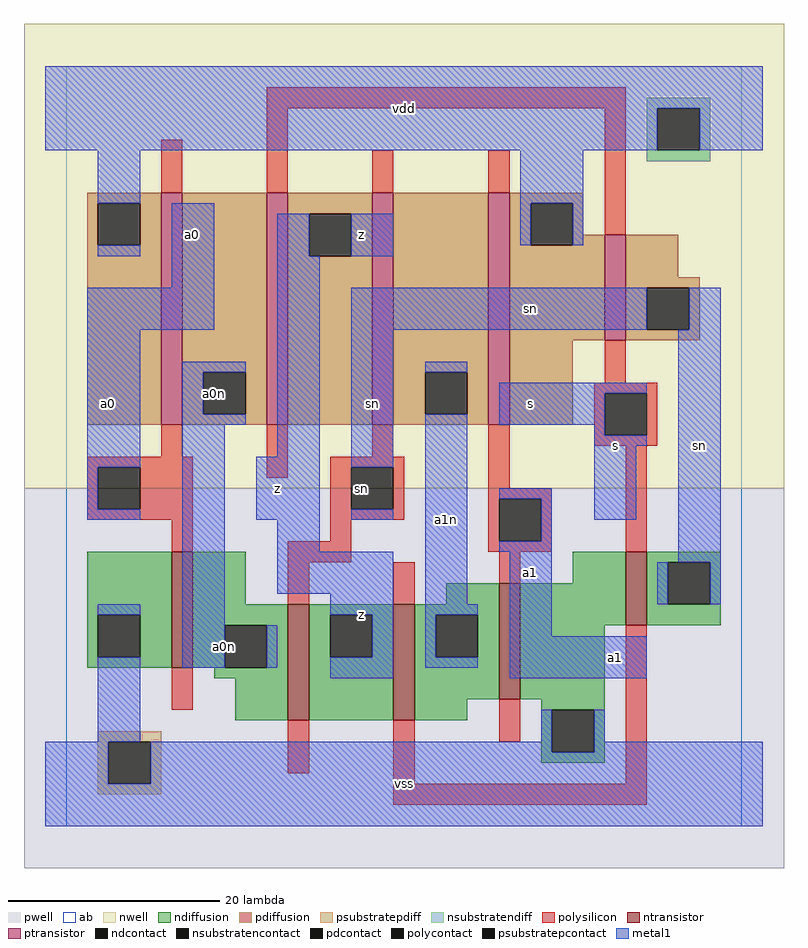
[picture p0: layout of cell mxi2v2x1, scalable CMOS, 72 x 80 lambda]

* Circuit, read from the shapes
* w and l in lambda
.subckt mxi2v2x1 a0 a0n a1 a1n s sn vdd vss z
M1 a0n a0 vss vss nfet w=11 l=2
M2 z sn a0n vss nfet w=11 l=2
M3 a1n s z vss nfet w=11 l=2
M4 vss a1 a1n vss nfet w=11 l=2
M5 sn s vss vss nfet w=7 l=2
M6 a0n a0 vdd vdd pfet w=22 l=2
M7 z s a0n vdd pfet w=22 l=2
M8 a1n sn z vdd pfet w=22 l=2
M9 vdd a1 a1n vdd pfet w=22 l=2
M10 sn s vdd vdd pfet w=10 l=2
.ends

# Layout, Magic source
magic
tech scmos
<< ab >>
rect 0 0 64 72
<< pwell >>
rect -4 -4 68 32
<< nwell >>
rect -4 32 68 76
<< polysilicon >>
rect 19 68 53 70
rect 9 60 11 65
rect 19 60 21 68
rect 29 60 31 64
rect 40 60 42 64
rect 51 56 53 68
rect 51 42 53 46
rect 50 41 56 42
rect 9 35 11 38
rect 2 34 12 35
rect 2 30 3 34
rect 7 30 12 34
rect 19 33 21 38
rect 29 35 31 38
rect 25 34 32 35
rect 2 29 12 30
rect 10 26 12 29
rect 25 30 27 34
rect 31 30 32 34
rect 25 29 32 30
rect 40 32 42 38
rect 50 37 51 41
rect 55 37 56 41
rect 50 36 56 37
rect 40 31 46 32
rect 25 27 27 29
rect 21 25 27 27
rect 40 27 41 31
rect 45 27 46 31
rect 40 26 46 27
rect 53 26 55 36
rect 21 21 23 25
rect 31 21 33 25
rect 41 23 43 26
rect 10 11 12 15
rect 21 5 23 10
rect 31 4 33 10
rect 41 8 43 12
rect 53 4 55 19
rect 31 2 55 4
<< ndiffusion >>
rect 2 20 10 26
rect 2 16 3 20
rect 7 16 10 20
rect 2 15 10 16
rect 12 21 17 26
rect 48 23 53 26
rect 36 21 41 23
rect 12 19 21 21
rect 12 15 15 19
rect 19 15 21 19
rect 14 14 21 15
rect 16 10 21 14
rect 23 20 31 21
rect 23 16 25 20
rect 29 16 31 20
rect 23 10 31 16
rect 33 20 41 21
rect 33 16 35 20
rect 39 16 41 20
rect 33 12 41 16
rect 43 19 53 23
rect 55 25 62 26
rect 55 21 57 25
rect 61 21 62 25
rect 55 19 62 21
rect 43 12 51 19
rect 33 10 38 12
rect 45 11 51 12
rect 45 7 46 11
rect 50 7 51 11
rect 45 6 51 7
<< pdiffusion >>
rect 2 59 9 60
rect 2 55 3 59
rect 7 55 9 59
rect 2 38 9 55
rect 11 43 19 60
rect 11 39 13 43
rect 17 39 19 43
rect 11 38 19 39
rect 21 58 29 60
rect 21 54 23 58
rect 27 54 29 58
rect 21 38 29 54
rect 31 43 40 60
rect 31 39 34 43
rect 38 39 40 43
rect 31 38 40 39
rect 42 59 49 60
rect 42 55 44 59
rect 48 56 49 59
rect 48 55 51 56
rect 42 46 51 55
rect 53 52 58 56
rect 53 51 60 52
rect 53 47 55 51
rect 59 47 60 51
rect 53 46 60 47
rect 42 38 48 46
<< metal1 >>
rect -2 68 66 72
rect -2 64 56 68
rect 60 64 66 68
rect 3 59 7 64
rect 43 59 49 64
rect 3 54 7 55
rect 10 51 14 59
rect 2 47 14 51
rect 20 54 23 58
rect 27 54 31 58
rect 43 55 44 59
rect 48 55 49 59
rect 2 34 7 47
rect 2 30 3 34
rect 2 29 7 30
rect 11 43 17 44
rect 11 39 13 43
rect 11 38 17 39
rect 3 20 7 21
rect 3 8 7 16
rect 11 15 15 38
rect 20 35 24 54
rect 18 29 24 35
rect 27 47 55 51
rect 59 47 62 51
rect 27 34 31 47
rect 27 29 31 30
rect 34 43 38 44
rect 20 26 24 29
rect 20 22 31 26
rect 25 20 31 22
rect 19 15 20 19
rect 29 16 31 20
rect 25 14 31 16
rect 34 21 38 39
rect 41 41 55 42
rect 41 38 51 41
rect 50 37 51 38
rect 50 36 55 37
rect 41 31 46 32
rect 45 27 46 31
rect 50 29 54 36
rect 41 26 46 27
rect 34 20 39 21
rect 34 16 35 20
rect 34 15 39 16
rect 42 18 46 26
rect 58 25 62 47
rect 56 21 57 25
rect 61 21 62 25
rect 42 14 55 18
rect 45 8 46 11
rect -2 4 4 8
rect 8 7 46 8
rect 50 8 51 11
rect 50 7 66 8
rect 8 4 66 7
rect -2 0 66 4
<< ntransistor >>
rect 10 15 12 26
rect 21 10 23 21
rect 31 10 33 21
rect 41 12 43 23
rect 53 19 55 26
<< ptransistor >>
rect 9 38 11 60
rect 19 38 21 60
rect 29 38 31 60
rect 40 38 42 60
rect 51 46 53 56
<< polycontact >>
rect 3 30 7 34
rect 27 30 31 34
rect 51 37 55 41
rect 41 27 45 31
<< ndcontact >>
rect 3 16 7 20
rect 15 15 19 19
rect 25 16 29 20
rect 35 16 39 20
rect 57 21 61 25
rect 46 7 50 11
<< pdcontact >>
rect 3 55 7 59
rect 13 39 17 43
rect 23 54 27 58
rect 34 39 38 43
rect 44 55 48 59
rect 55 47 59 51
<< psubstratepcontact >>
rect 4 4 8 8
<< nsubstratencontact >>
rect 56 64 60 68
<< psubstratepdiff >>
rect 3 8 9 9
rect 3 4 4 8
rect 8 4 9 8
rect 3 3 9 4
<< nsubstratendiff >>
rect 55 68 61 69
rect 55 64 56 68
rect 60 64 61 68
rect 55 63 61 64
<< labels >>
rlabel polycontact 28 32 28 32 6 sn
rlabel metal1 4 40 4 40 6 a0
rlabel metal1 12 56 12 56 6 a0
rlabel metal1 28 20 28 20 6 z
rlabel metal1 15 17 15 17 6 a0n
rlabel metal1 20 32 20 32 6 z
rlabel metal1 29 40 29 40 6 sn
rlabel pdcontact 14 41 14 41 6 a0n
rlabel metal1 28 56 28 56 6 z
rlabel metal1 32 4 32 4 6 vss
rlabel metal1 44 24 44 24 6 a1
rlabel metal1 44 40 44 40 6 s
rlabel metal1 36 29 36 29 6 a1n
rlabel metal1 32 68 32 68 6 vdd
rlabel metal1 52 16 52 16 6 a1
rlabel metal1 60 36 60 36 6 sn
rlabel metal1 52 36 52 36 6 s
rlabel metal1 44 49 44 49 6 sn
<< end >>
